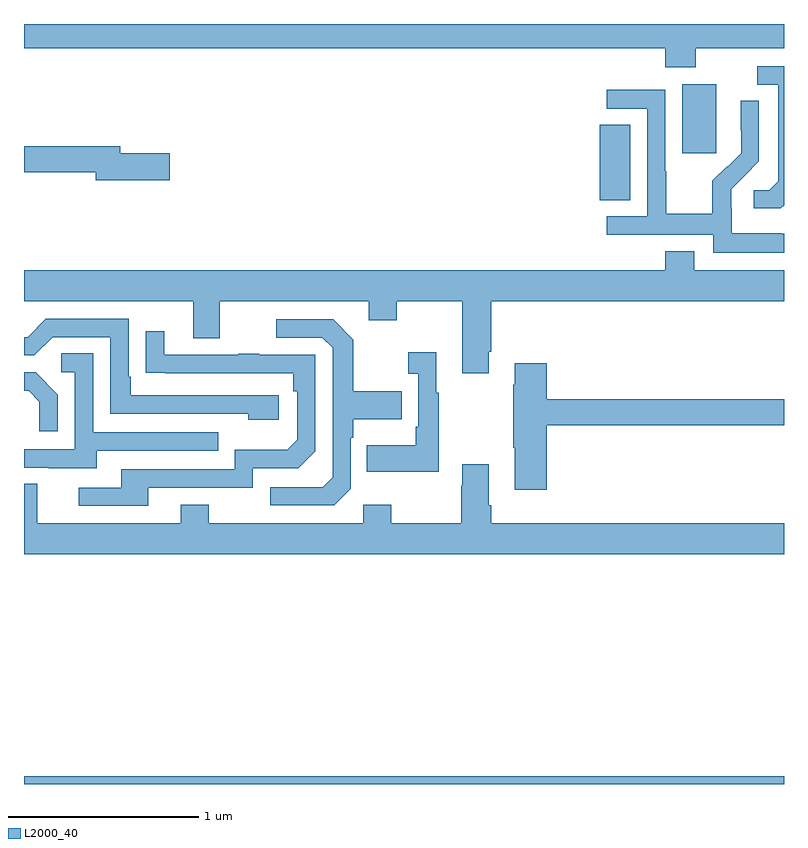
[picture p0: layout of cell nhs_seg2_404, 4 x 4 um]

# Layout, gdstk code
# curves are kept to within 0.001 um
import gdstk
lib = gdstk.Library(unit=1e-6, precision=1e-09)
def R(c, l, rs):  # rectangles x0, y0, x1, y1
    for r in rs: c.add(gdstk.rectangle(r[:2], r[2:], *l))
def P(c, l, *ps):  # polygons
    for p in ps: c.add(gdstk.Polygon(p, *l))
L2000_40 = (2000, 40)

nhs_seg2_404 = lib.new_cell('nhs_seg2_404')
R(nhs_seg2_404, L2000_40, [(131,607.8,135,607.84), (134.03,610.873,134.191,611.27), (134.465,611.121,134.644,611.482)])
P(nhs_seg2_404, L2000_40, [(134.535,611.672),(135,611.672),(135,611.8),(131,611.8),(131,611.672),(134.375,611.672),(134.375,611.573),(134.535,611.573)],
  [(135,610.845),(135,611.577),(134.859,611.577),(134.859,611.481),(134.969,611.481),(134.969,610.973),(134.922,610.926),(134.841,610.926),(134.841,610.829),(134.984,610.829)],
  [(135,610.695),(134.987,610.695),(134.987,610.699),(134.724,610.699),(134.724,610.833),(134.722,610.833),(134.722,610.93),(134.868,611.078),(134.868,611.396),(134.772,611.396),(134.772,611.242),(134.774,611.242),(134.774,611.12),(134.703,611.049),(134.7,611.052),(134.623,610.975),(134.623,610.801),(134.379,610.801),(134.379,611.024),(134.376,611.024),(134.376,611.454),(134.067,611.454),(134.067,611.355),(134.28,611.355),(134.28,610.788),(134.067,610.788),(134.067,610.692),(134.628,610.692),(134.628,610.595),(135,610.595)],
  [(131.767,611.12),(131.506,611.12),(131.506,611.156),(131,611.156),(131,611.02),(131.378,611.02),(131.378,610.978),(131.767,610.978)],
  [(133.447,610.075),(133.46,610.075),(133.46,610.34),(135,610.34),(135,610.504),(134.527,610.504),(134.527,610.603),(134.375,610.603),(134.375,610.504),(131,610.504),(131,610.34),(131.891,610.34),(131.891,610.146),(132.031,610.146),(132.031,610.34),(132.815,610.34),(132.815,610.241),(132.963,610.241),(132.963,610.34),(133.307,610.34),(133.307,609.963),(133.447,609.963)],
  [(132.34,609.846),(131.563,609.846),(131.563,609.943),(131.55,609.943),(131.55,610.248),(131.115,610.248),(131.019,610.152),(131,610.152),(131,610.056),(131.055,610.056),(131.151,610.152),(131.454,610.152),(131.454,609.75),(132.179,609.75),(132.179,609.716),(132.34,609.716)],
  [(132.72,609.354),(132.72,609.623),(132.733,609.623),(132.733,609.719),(132.989,609.719),(132.989,609.867),(132.733,609.867),(132.733,610.139),(132.627,610.245),(132.327,610.245),(132.327,610.149),(132.57,610.149),(132.624,610.095),(132.624,609.414),(132.573,609.363),(132.297,609.363),(132.297,609.267),(132.633,609.267)],
  [(131.653,609.36),(132.204,609.36),(132.204,609.462),(132.444,609.462),(132.534,609.552),(132.534,610.059),(132.239,610.059),(132.239,610.064),(132.127,610.064),(132.127,610.059),(131.737,610.059),(131.737,610.183),(131.641,610.183),(131.641,609.964),(132.418,609.963),(132.418,609.866),(132.438,609.866),(132.438,609.612),(132.385,609.559),(132.108,609.559),(132.108,609.456),(131.513,609.456),(131.513,609.36),(131.289,609.36),(131.289,609.264),(131.653,609.264)],
  [(133.183,609.859),(133.171,609.859),(133.171,610.072),(133.023,610.072),(133.023,609.959),(133.074,609.959),(133.074,609.679),(133.062,609.679),(133.062,609.583),(132.805,609.583),(132.805,609.443),(133.183,609.443)],
  [(131.383,609.555),(132.023,609.555),(132.023,609.651),(131.364,609.651),(131.364,610.067),(131.196,610.067),(131.196,609.966),(131.268,609.966),(131.268,609.561),(131,609.561),(131,609.465),(131.129,609.465),(131.129,609.461),(131.383,609.461)],
  [(133.751,609.688),(135,609.688),(135,609.824),(133.751,609.824),(133.751,610.015),(133.583,610.015),(133.583,609.902),(133.576,609.902),(133.576,609.571),(133.583,609.571),(133.583,609.348),(133.751,609.348)],
  [(131.178,609.85),(131.062,609.966),(131,609.966),(131,609.87),(131.024,609.87),(131.081,609.813),(131.081,609.657),(131.178,609.657)],
  [(135,609.172),(133.46,609.172),(133.46,609.268),(133.447,609.268),(133.447,609.484),(133.307,609.484),(133.307,609.371),(133.3,609.371),(133.3,609.172),(132.933,609.172),(132.933,609.271),(132.786,609.271),(132.786,609.172),(131.973,609.172),(131.973,609.271),(131.825,609.271),(131.825,609.172),(131.071,609.172),(131.071,609.38),(131,609.38),(131,609.008),(135,609.008)])

lib.write_gds('nhs_seg2_404.gds')
